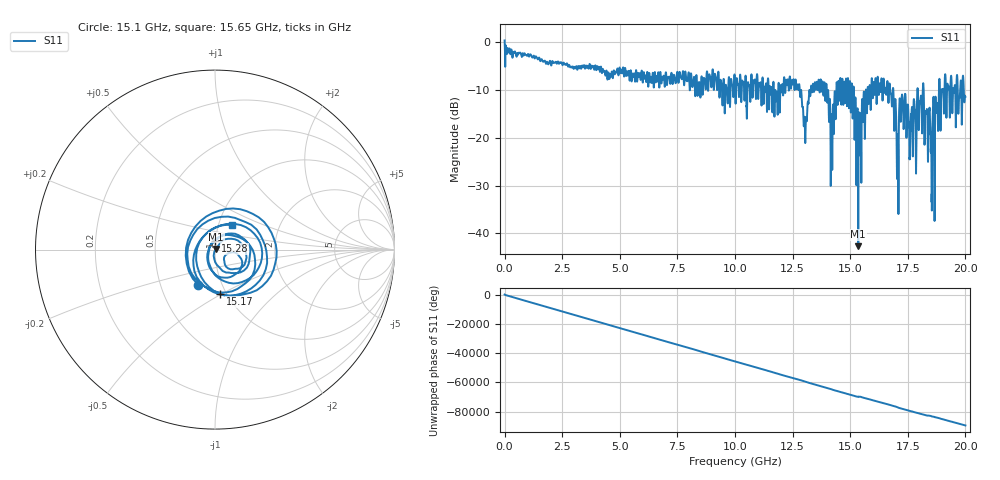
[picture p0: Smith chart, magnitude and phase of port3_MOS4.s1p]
! MS46122B
! 2250307/22442219
! 7/28/2025 2:02:05 PM
! C:\USERS\SPARKY\DOCUMENTS\VNA_DATA\JULY28_2025\3K\PORT3_MOS4.S1P
! CHANNEL.1
! TR.MEASUREMENT
! RAW.DATA
# GHZ S RI R 50.0
! FREQ.GHZ  S11RE  S11IM
!; PortSelection: Port_1
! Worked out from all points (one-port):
!   10001 points, 1 MHz to 20 GHz, reference 50 ohm
!   lowest |S11| = -42.7 dB at 15.35 GHz (marker M1), VSWR 1.01, Z = 50.6 + j0.367 ohm
!   |S11| at or under -10 dB: 15.16 GHz to 15.68 GHz (520.8 MHz wide, 3.38 % of centre); 16.87 GHz to 17.91 GHz (1.042 GHz wide, 5.99 % of centre); 18.19 GHz to 18.85 GHz (655.2 MHz wide, 3.54 % of centre) (the widest 3 of 83)
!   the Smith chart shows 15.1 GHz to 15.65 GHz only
!   S11 on the Smith chart (normalised r, x): 15.1 GHz: 0.77, -0.32; 15.17 GHz: 0.93, -0.49; 15.28 GHz: 1.00, +0.10; 15.65 GHz: 1.16, +0.32
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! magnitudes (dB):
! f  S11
! 1 MHz  0.4
! 2.501 GHz  -4.6
! 5.001 GHz  -5.4
! 7.501 GHz  -6.2
! 10 GHz  -8.0
! 11.78 GHz  -12.3
! 12.5 GHz  -8.8
! 12.8 GHz  -9.0
! 13.04 GHz  -18.7
! 13.55 GHz  -8.2
! 13.96 GHz  -8.8
! 14.21 GHz  -20.4
! 14.49 GHz  -8.0
! 15 GHz  -9.1
! 15.1 GHz  -13.3
! 15.17 GHz  -12.1
! 15.28 GHz  -26.2
! 15.35 GHz  -42.7
! 15.65 GHz  -15.6
! 16.53 GHz  -9.5
! 16.79 GHz  -11.8
! 17.01 GHz  -18.2
! 17.21 GHz  -14.4
! 17.5 GHz  -13.2
! 18.1 GHz  -14.8
! 18.46 GHz  -16.1
! 19.05 GHz  -11.6
! 20 GHz  -11.4
